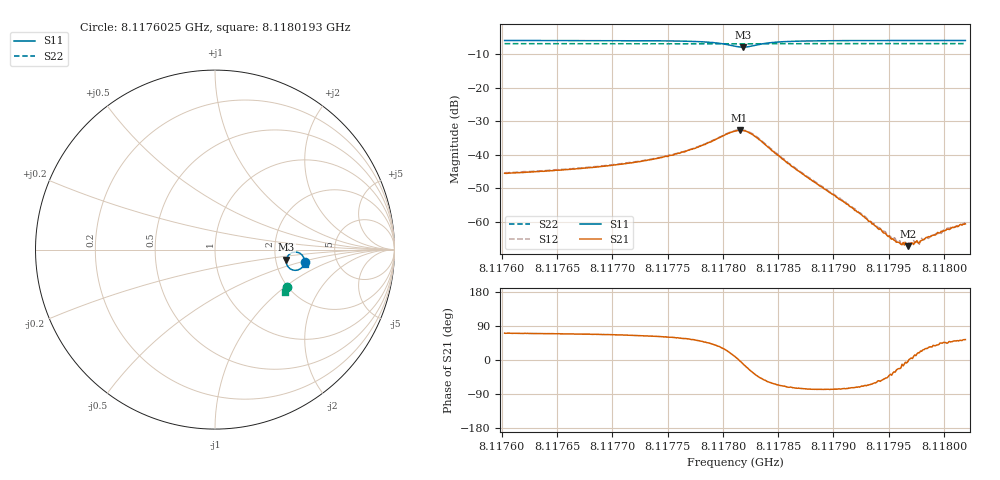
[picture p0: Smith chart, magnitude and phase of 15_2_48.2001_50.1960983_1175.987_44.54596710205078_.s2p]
#  HZ  S  RI  R  50.00
! Rohde & Schwarz Vector Network Analyzer
! Rohde-Schwarz,ZNB20-2Port,1311601062101988,3.16
! Created: UTC 3/20/2024, 11:36:43 AM
! freq[Hz]  re:S11  im:S11  re:S21  im:S21  re:S12  im:S12  re:S22  im:S22
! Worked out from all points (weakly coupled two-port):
!   401 points, 8.1176025 GHz to 8.1180193 GHz, reference 50 ohm
!   highest |S21| = -32.70 dB at 8.1178151 GHz (marker M1); lowest = -67.1 dB at 8.1179672 GHz (marker M2)
!   lowest |S11| = -7.9 dB at 8.1178182 GHz (marker M3), VSWR 2.34, Z = 114 - j15.5 ohm
!   |S11| at or under -10 dB: nowhere
!   |S22| runs from -7.0 to -6.9 dB; largest |S21 - S12| = 0.00062
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8.11760248e9  0.5003 -0.0674  0.00176 0.00503  0.00185 0.00508  0.4015 -0.2087
8.1176723e9  0.4978 -0.0771  0.00232 0.00586  0.00239 0.00592  0.3992 -0.2133
8.11770982e9  0.495 -0.0841  0.00301 0.0067  0.00309 0.00677  0.398 -0.2158
8.11774212e9  0.49 -0.0929  0.00421 0.00792  0.00433 0.00802  0.3967 -0.2181
8.11777339e9  0.4768 -0.1064  0.00735 0.00998  0.00748 0.0101  0.3949 -0.2204
8.1177984e9  0.4391 -0.1148  0.0157 0.01  0.0158 0.0101  0.3925 -0.2218
8.1178109e9  0.4037 -0.0907  0.0223 0.00358  0.0228 0.00366  0.3907 -0.221
8.11781507e9  0.3972 -0.0721  0.0232 -0.000768  0.0236 -0.000633  0.3905 -0.2202
8.1178182e9  0.3973 -0.0566  0.0226 -0.00417  0.0231 -0.00415  0.3905 -0.2198
8.11782862e9  0.4255 -0.0188  0.0153 -0.0114  0.0157 -0.0118  0.392 -0.219
8.11784842e9  0.4763 -0.0226  0.00435 -0.00929  0.00456 -0.00959  0.3936 -0.2208
8.11788073e9  0.4952 -0.0462  0.00091 -0.00403  0.000919 -0.00417  0.3933 -0.2242
8.11792658e9  0.499 -0.0625  0.000435 -0.00115  0.00043 -0.0012  0.3919 -0.2277
8.11795055e9  0.4993 -0.0677  0.000475 -0.0004  0.000426 -0.000451  0.391 -0.2293
8.11795993e9  0.4991 -0.0694  0.00045 -0.000189  0.000494 -0.000194  0.3907 -0.23
8.11796722e9  0.4993 -0.0706  0.000441 -3.43e-05  0.000437 -3.2e-05  0.3904 -0.2305
8.11797035e9  0.4993 -0.0712  0.000489 4.49e-05  0.000488 2.55e-05  0.3902 -0.2307
8.11797556e9  0.4991 -0.072  0.000508 0.000149  0.000476 0.000125  0.3902 -0.2309
8.11798077e9  0.4992 -0.0728  0.000487 0.000245  0.000499 0.000216  0.39 -0.2313
8.1179964e9  0.4991 -0.0749  0.00049 0.00049  0.000529 0.000461  0.3895 -0.2323
8.11800161e9  0.499 -0.0757  0.000526 0.000545  0.000559 0.000546  0.3893 -0.2325
8.11801933e9  0.4988 -0.078  0.000557 0.000761  0.000592 0.000783  0.3887 -0.2338
